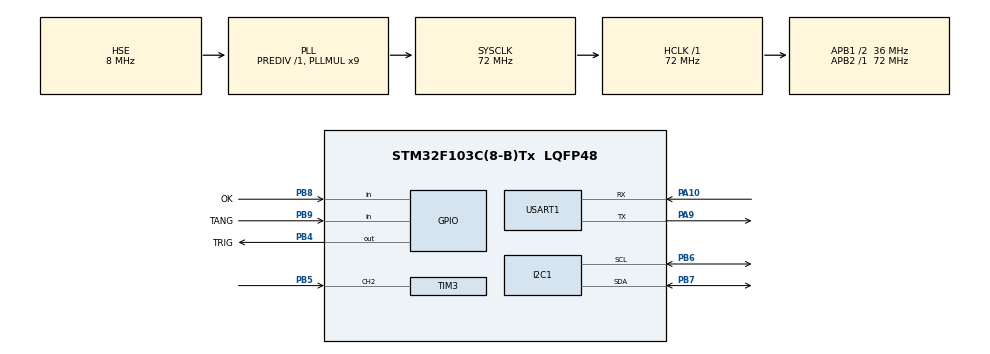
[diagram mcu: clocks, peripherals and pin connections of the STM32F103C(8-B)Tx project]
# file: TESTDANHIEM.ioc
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FREERTOS.Tasks01=defaultTask,0,128,StartDefaultTask,Default,NULL,Dynamic,NULL,NULL;myTask02,-2,128,StartTask02,Default,NULL,Dynamic,NULL,NULL;myTask03,-2,128,StartTask03,Default,NULL,Dynamic,NULL,NULL
I2C1.I2C_Mode=I2C_Fast
Mcu.Family=STM32F1
Mcu.Name=STM32F103C(8-B)Tx
Mcu.Package=LQFP48
NVIC.PriorityGroup=NVIC_PRIORITYGROUP_4
NVIC.TIM1_UP_IRQn=true\:15\:0\:false\:false\:true\:false\:false\:true\:true
NVIC.TIM3_IRQn=true\:5\:0\:false\:false\:true\:true\:true\:true\:true
NVIC.TimeBase=TIM1_UP_IRQn
NVIC.TimeBaseIP=TIM1
NVIC.USART1_IRQn=true\:5\:0\:false\:false\:true\:true\:true\:true\:true
PA10.Mode=Asynchronous
PA10.Signal=USART1_RX
PA13.Mode=Serial_Wire
PA13.Signal=SYS_JTMS-SWDIO
PA14.Mode=Serial_Wire
PA14.Signal=SYS_JTCK-SWCLK
PA9.Mode=Asynchronous
PA9.Signal=USART1_TX
PB4.GPIO_Label=TRIG
PB4.Signal=GPIO_Output
PB5.Signal=S_TIM3_CH2
PB6.Mode=I2C
PB6.Signal=I2C1_SCL
PB7.Mode=I2C
PB7.Signal=I2C1_SDA
PB8.GPIO_Label=OK
PB8.GPIO_PuPd=GPIO_PULLDOWN
PB8.Signal=GPIO_Input
PB9.GPIO_Label=TANG
PB9.GPIO_PuPd=GPIO_PULLDOWN
PB9.Signal=GPIO_Input
PD0-OSC_IN.Mode=HSE-External-Oscillator
PD0-OSC_IN.Signal=RCC_OSC_IN
PD1-OSC_OUT.Mode=HSE-External-Oscillator
PD1-OSC_OUT.Signal=RCC_OSC_OUT
ProjectManager.HeapSize=0x200
ProjectManager.StackSize=0x400
ProjectManager.TargetToolchain=STM32CubeIDE
RCC.AHBFreq_Value=72000000
RCC.APB1CLKDivider=RCC_HCLK_DIV2
RCC.APB1Freq_Value=36000000
RCC.APB1TimFreq_Value=72000000
RCC.APB2Freq_Value=72000000
RCC.APB2TimFreq_Value=72000000
RCC.HCLKFreq_Value=72000000
RCC.PLLMUL=RCC_PLL_MUL9
RCC.PLLSourceVirtual=RCC_PLLSOURCE_HSE
RCC.SYSCLKFreq_VALUE=72000000
RCC.SYSCLKSource=RCC_SYSCLKSOURCE_PLLCLK
RCC.USBFreq_Value=72000000
SH.S_TIM3_CH2.0=TIM3_CH2,Input_Capture2_from_TI2
TIM2.Prescaler=71
TIM3.Channel-Input_Capture2_from_TI2=TIM_CHANNEL_2
TIM3.Prescaler=71
TIM4.Prescaler=71
USART1.VirtualMode=VM_ASYNC
VP_FREERTOS_VS_CMSIS_V1.Mode=CMSIS_V1
VP_SYS_VS_tim1.Mode=TIM1
VP_TIM2_VS_ClockSourceINT.Mode=Internal
VP_TIM3_VS_ClockSourceINT.Mode=Internal
VP_TIM4_VS_ClockSourceINT.Mode=Internal
board=custom

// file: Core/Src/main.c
/* USER CODE BEGIN Header */
/**
  ******************************************************************************
  * @file           : main.c
  * @brief          : Main program body
  ******************************************************************************
  * @attention
  *
  * Copyright (c) 2025 STMicroelectronics.
  * All rights reserved.
  *
  * This software is licensed under terms that can be found in the LICENSE file
  * in the root directory of this software component.
  * If no LICENSE file comes with this software, it is provided AS-IS.
  *
  ******************************************************************************
  */
/* USER CODE END Header */
#include "main.h"
#include "cmsis_os.h"

/* USER CODE BEGIN Includes */
#include <CLCD_I2C.h>
#include "stdio.h"
#include "string.h"
#include <stdlib.h>
#include <DS3231.h>
/* USER CODE END Includes */

I2C_HandleTypeDef hi2c1;

TIM_HandleTypeDef htim2;
TIM_HandleTypeDef htim3;
TIM_HandleTypeDef htim4;

UART_HandleTypeDef huart1;

osThreadId defaultTaskHandle;
osThreadId myTask02Handle;
osThreadId myTask03Handle;
/* USER CODE BEGIN PV */
int pulse_duration =0;
int KCDO = 0;
CLCD_I2C_Name LCD1;
char text1[30];
char text2[30];
char text3[30];
char text4[30];
uint32_t ic_val1 = 0;
uint32_t ic_val2 = 0;
uint32_t difference = 0;
uint8_t is_captured = 0;
uint8_t distance = 0;
uint8_t IndexBuff = 0;
char IndexData[50];
unsigned short Flag = 0;
uint16_t timesend = 200;
DS3231_Name DS3231;
uint8_t mode = 0;
uint16_t demtimegui=0;
/* USER CODE END PV */

void SystemClock_Config(void);
static void MX_GPIO_Init(void);
static void MX_I2C1_Init(void);
static void MX_TIM3_Init(void);
static void MX_USART1_UART_Init(void);
static void MX_TIM2_Init(void);
static void MX_TIM4_Init(void);
void StartDefaultTask(void const * argument);
void StartTask02(void const * argument);
void StartTask03(void const * argument);

/* USER CODE BEGIN 0 */
void Delay_us(uint16_t time)
{
    __HAL_TIM_SET_COUNTER(&htim2, 0);
    while (__HAL_TIM_GET_COUNTER(&htim2) < time) {}
}
void HAL_UART_RxCpltCallback(UART_HandleTypeDef *huart)
{
	if(huart -> Instance == USART1)
	{
		if(IndexData[IndexBuff] != 'K') /*/!,,,, 0x0A = \n*/
		{
			IndexBuff++;
		}
		else
		{
			Flag = 1;
			IndexBuff = 0;
		}
		HAL_UART_Receive_IT(&huart1, (uint8_t*)&IndexData[IndexBuff], 1);
	}
}
void senTRIG()
{
	HAL_GPIO_WritePin(TRIG_GPIO_Port,TRIG_Pin,GPIO_PIN_SET);
	Delay_us(1);
	HAL_GPIO_WritePin(TRIG_GPIO_Port,TRIG_Pin,GPIO_PIN_RESET);
}

void HAL_TIM_IC_CaptureCallback(TIM_HandleTypeDef *htim) {
    if (htim->Instance == htim3.Instance) {
        if (is_captured == 0) {
            ic_val1 = HAL_TIM_ReadCapturedValue(htim, TIM_CHANNEL_2);
            __HAL_TIM_SET_CAPTUREPOLARITY(htim, TIM_CHANNEL_2, TIM_INPUTCHANNELPOLARITY_FALLING);
            is_captured = 1;
        } else if (is_captured == 1) {
            ic_val2 = HAL_TIM_ReadCapturedValue(htim, TIM_CHANNEL_2);
            __HAL_TIM_SET_CAPTUREPOLARITY(htim, TIM_CHANNEL_2, TIM_INPUTCHANNELPOLARITY_RISING);
            is_captured = 0;
            if (ic_val2 > ic_val1) {
                difference = ic_val2 - ic_val1;
            } else {
                difference = (0xFFFF - ic_val1) + ic_val2;
            }
        }
		HAL_TIM_IC_Start_IT(&htim3, TIM_CHANNEL_2);
    }
}

uint8_t Read_HCR05()
{
	senTRIG();
	return distance = (difference * 0.0343) / 2;
}
void TINHTOAN(uint8_t Flag)
{
    if(Flag)
    {
        if(IndexData[0] == 'T')
        {
            timesend = atoi(IndexData + 1);
        }
        Flag = 0;
    }
}
void Xlnutan()
{
	if(HAL_GPIO_ReadPin(OK_GPIO_Port,OK_Pin) == 1)
	{
		mode = 0;
		CLCD_I2C_Clear(&LCD1);
	}
	else if(HAL_GPIO_ReadPin(TANG_GPIO_Port,TANG_Pin) == 1)
	{
		mode = 1;
		CLCD_I2C_Clear(&LCD1);
	}
}
void Xldulieu()
{
	TINHTOAN(Flag);
	sprintf(text1,"Kc do:%d  ",KCDO);
	sprintf(text2,"khoang cach:%d\r\n",KCDO);
	sprintf(text3,"TIME:%d:%d:%d  ",DS3231.Hour,DS3231.Min,DS3231.Sec);
}

void Hienthilcd()
{
	if(mode == 0)
	{
		CLCD_I2C_SetCursor(&LCD1, 0, 0);
		CLCD_I2C_WriteString(&LCD1,"CHE DO 1");
		CLCD_I2C_SetCursor(&LCD1, 0, 1);
		CLCD_I2C_WriteString(&LCD1,text1);
	}
	else if(mode == 1)
	{
		CLCD_I2C_SetCursor(&LCD1, 0, 0);
		CLCD_I2C_WriteString(&LCD1,"CHE DO 2");
		CLCD_I2C_SetCursor(&LCD1, 0, 1);
		CLCD_I2C_WriteString(&LCD1,text3);
	}
}
/* USER CODE END 0 */

int main(void)
{

  /* MCU Configuration--------------------------------------------------------*/

  /* Reset of all peripherals, Initializes the Flash interface and the Systick. */
  HAL_Init();

  /* Configure the system clock */
  SystemClock_Config();

  /* Initialize all configured peripherals */
  MX_GPIO_Init();
  MX_I2C1_Init();
  MX_TIM3_Init();
  MX_USART1_UART_Init();
  MX_TIM2_Init();
  MX_TIM4_Init();
  /* USER CODE BEGIN 2 */
  HAL_UART_Receive_IT(&huart1, (uint8_t*)&IndexData[IndexBuff], 1);
	HAL_TIM_IC_Start_IT(&htim3, TIM_CHANNEL_2);
	HAL_TIM_Base_Start(&htim2);
	CLCD_I2C_Init(&LCD1,&hi2c1,0x4e,16,02,&htim4);
	DS3231_Init(&DS3231, &hi2c1);
	//DS3231_SetTime(&DS3231,14,42,0);
  /* USER CODE END 2 */

  /* Create the thread(s) */
  /* definition and creation of defaultTask */
  osThreadDef(defaultTask, StartDefaultTask, osPriorityNormal, 0, 128);
  defaultTaskHandle = osThreadCreate(osThread(defaultTask), NULL);

  /* definition and creation of myTask02 */
  osThreadDef(myTask02, StartTask02, osPriorityLow, 0, 128);
  myTask02Handle = osThreadCreate(osThread(myTask02), NULL);

  /* definition and creation of myTask03 */
  osThreadDef(myTask03, StartTask03, osPriorityLow, 0, 128);
  myTask03Handle = osThreadCreate(osThread(myTask03), NULL);

  /* Start scheduler */
  osKernelStart();

  /* We should never get here as control is now taken by the scheduler */

  /* Infinite loop */
  while (1)
  {

  }
}

void SystemClock_Config(void)
{
  RCC_OscInitTypeDef RCC_OscInitStruct = {0};
  RCC_ClkInitTypeDef RCC_ClkInitStruct = {0};

  /** Initializes the RCC Oscillators according to the specified parameters
  * in the RCC_OscInitTypeDef structure.
  */
  RCC_OscInitStruct.OscillatorType = RCC_OSCILLATORTYPE_HSE;
  RCC_OscInitStruct.HSEState = RCC_HSE_ON;
  RCC_OscInitStruct.HSEPredivValue = RCC_HSE_PREDIV_DIV1;
  RCC_OscInitStruct.HSIState = RCC_HSI_ON;
  RCC_OscInitStruct.PLL.PLLState = RCC_PLL_ON;
  RCC_OscInitStruct.PLL.PLLSource = RCC_PLLSOURCE_HSE;
  RCC_OscInitStruct.PLL.PLLMUL = RCC_PLL_MUL9;
  if (HAL_RCC_OscConfig(&RCC_OscInitStruct) != HAL_OK)
  {
    Error_Handler();
  }

  /** Initializes the CPU, AHB and APB buses clocks
  */
  RCC_ClkInitStruct.ClockType = RCC_CLOCKTYPE_HCLK|RCC_CLOCKTYPE_SYSCLK
                              |RCC_CLOCKTYPE_PCLK1|RCC_CLOCKTYPE_PCLK2;
  RCC_ClkInitStruct.SYSCLKSource = RCC_SYSCLKSOURCE_PLLCLK;
  RCC_ClkInitStruct.AHBCLKDivider = RCC_SYSCLK_DIV1;
  RCC_ClkInitStruct.APB1CLKDivider = RCC_HCLK_DIV2;
  RCC_ClkInitStruct.APB2CLKDivider = RCC_HCLK_DIV1;

  if (HAL_RCC_ClockConfig(&RCC_ClkInitStruct, FLASH_LATENCY_2) != HAL_OK)
  {
    Error_Handler();
  }
}

static void MX_I2C1_Init(void)
{

  hi2c1.Instance = I2C1;
  hi2c1.Init.ClockSpeed = 400000;
  hi2c1.Init.DutyCycle = I2C_DUTYCYCLE_2;
  hi2c1.Init.OwnAddress1 = 0;
  hi2c1.Init.AddressingMode = I2C_ADDRESSINGMODE_7BIT;
  hi2c1.Init.DualAddressMode = I2C_DUALADDRESS_DISABLE;
  hi2c1.Init.OwnAddress2 = 0;
  hi2c1.Init.GeneralCallMode = I2C_GENERALCALL_DISABLE;
  hi2c1.Init.NoStretchMode = I2C_NOSTRETCH_DISABLE;
  if (HAL_I2C_Init(&hi2c1) != HAL_OK)
  {
    Error_Handler();
  }

}

static void MX_TIM2_Init(void)
{

  TIM_ClockConfigTypeDef sClockSourceConfig = {0};
  TIM_MasterConfigTypeDef sMasterConfig = {0};

  htim2.Instance = TIM2;
  htim2.Init.Prescaler = 71;
  htim2.Init.CounterMode = TIM_COUNTERMODE_UP;
  htim2.Init.Period = 65535;
  htim2.Init.ClockDivision = TIM_CLOCKDIVISION_DIV1;
  htim2.Init.AutoReloadPreload = TIM_AUTORELOAD_PRELOAD_DISABLE;
  if (HAL_TIM_Base_Init(&htim2) != HAL_OK)
  {
    Error_Handler();
  }
  sClockSourceConfig.ClockSource = TIM_CLOCKSOURCE_INTERNAL;
  if (HAL_TIM_ConfigClockSource(&htim2, &sClockSourceConfig) != HAL_OK)
  {
    Error_Handler();
  }
  sMasterConfig.MasterOutputTrigger = TIM_TRGO_RESET;
  sMasterConfig.MasterSlaveMode = TIM_MASTERSLAVEMODE_DISABLE;
  if (HAL_TIMEx_MasterConfigSynchronization(&htim2, &sMasterConfig) != HAL_OK)
  {
    Error_Handler();
  }

}

static void MX_TIM3_Init(void)
{

  TIM_ClockConfigTypeDef sClockSourceConfig = {0};
  TIM_MasterConfigTypeDef sMasterConfig = {0};
  TIM_IC_InitTypeDef sConfigIC = {0};

  htim3.Instance = TIM3;
  htim3.Init.Prescaler = 71;
  htim3.Init.CounterMode = TIM_COUNTERMODE_UP;
  htim3.Init.Period = 65535;
  htim3.Init.ClockDivision = TIM_CLOCKDIVISION_DIV1;
  htim3.Init.AutoReloadPreload = TIM_AUTORELOAD_PRELOAD_DISABLE;
  if (HAL_TIM_Base_Init(&htim3) != HAL_OK)
  {
    Error_Handler();
  }
  sClockSourceConfig.ClockSource = TIM_CLOCKSOURCE_INTERNAL;
  if (HAL_TIM_ConfigClockSource(&htim3, &sClockSourceConfig) != HAL_OK)
  {
    Error_Handler();
  }
  if (HAL_TIM_IC_Init(&htim3) != HAL_OK)
  {
    Error_Handler();
  }
  sMasterConfig.MasterOutputTrigger = TIM_TRGO_RESET;
  sMasterConfig.MasterSlaveMode = TIM_MASTERSLAVEMODE_DISABLE;
  if (HAL_TIMEx_MasterConfigSynchronization(&htim3, &sMasterConfig) != HAL_OK)
  {
    Error_Handler();
  }
  sConfigIC.ICPolarity = TIM_INPUTCHANNELPOLARITY_RISING;
  sConfigIC.ICSelection = TIM_ICSELECTION_DIRECTTI;
  sConfigIC.ICPrescaler = TIM_ICPSC_DIV1;
  sConfigIC.ICFilter = 0;
  if (HAL_TIM_IC_ConfigChannel(&htim3, &sConfigIC, TIM_CHANNEL_2) != HAL_OK)
  {
    Error_Handler();
  }

}

static void MX_TIM4_Init(void)
{

  TIM_ClockConfigTypeDef sClockSourceConfig = {0};
  TIM_MasterConfigTypeDef sMasterConfig = {0};

  htim4.Instance = TIM4;
  htim4.Init.Prescaler = 71;
  htim4.Init.CounterMode = TIM_COUNTERMODE_UP;
  htim4.Init.Period = 65535;
  htim4.Init.ClockDivision = TIM_CLOCKDIVISION_DIV1;
  htim4.Init.AutoReloadPreload = TIM_AUTORELOAD_PRELOAD_DISABLE;
  if (HAL_TIM_Base_Init(&htim4) != HAL_OK)
  {
    Error_Handler();
  }
  sClockSourceConfig.ClockSource = TIM_CLOCKSOURCE_INTERNAL;
  if (HAL_TIM_ConfigClockSource(&htim4, &sClockSourceConfig) != HAL_OK)
  {
    Error_Handler();
  }
  sMasterConfig.MasterOutputTrigger = TIM_TRGO_RESET;
  sMasterConfig.MasterSlaveMode = TIM_MASTERSLAVEMODE_DISABLE;
  if (HAL_TIMEx_MasterConfigSynchronization(&htim4, &sMasterConfig) != HAL_OK)
  {
    Error_Handler();
  }

}

static void MX_USART1_UART_Init(void)
{

  huart1.Instance = USART1;
  huart1.Init.BaudRate = 115200;
  huart1.Init.WordLength = UART_WORDLENGTH_8B;
  huart1.Init.StopBits = UART_STOPBITS_1;
  huart1.Init.Parity = UART_PARITY_NONE;
  huart1.Init.Mode = UART_MODE_TX_RX;
  huart1.Init.HwFlowCtl = UART_HWCONTROL_NONE;
  huart1.Init.OverSampling = UART_OVERSAMPLING_16;
  if (HAL_UART_Init(&huart1) != HAL_OK)
  {
    Error_Handler();
  }

}

static void MX_GPIO_Init(void)
{
  GPIO_InitTypeDef GPIO_InitStruct = {0};

  /* GPIO Ports Clock Enable */
  __HAL_RCC_GPIOD_CLK_ENABLE();
  __HAL_RCC_GPIOA_CLK_ENABLE();
  __HAL_RCC_GPIOB_CLK_ENABLE();

  /*Configure GPIO pin Output Level */
  HAL_GPIO_WritePin(TRIG_GPIO_Port, TRIG_Pin, GPIO_PIN_RESET);

  /*Configure GPIO pin : TRIG_Pin */
  GPIO_InitStruct.Pin = TRIG_Pin;
  GPIO_InitStruct.Mode = GPIO_MODE_OUTPUT_PP;
  GPIO_InitStruct.Pull = GPIO_NOPULL;
  GPIO_InitStruct.Speed = GPIO_SPEED_FREQ_LOW;
  HAL_GPIO_Init(TRIG_GPIO_Port, &GPIO_InitStruct);

  /*Configure GPIO pins : OK_Pin TANG_Pin */
  GPIO_InitStruct.Pin = OK_Pin|TANG_Pin;
  GPIO_InitStruct.Mode = GPIO_MODE_INPUT;
  GPIO_InitStruct.Pull = GPIO_PULLDOWN;
  HAL_GPIO_Init(GPIOB, &GPIO_InitStruct);

}

void StartDefaultTask(void const * argument)
{
  /* USER CODE BEGIN 5 */

  /* Infinite loop */
  for(;;)
  {
	  //HAL_UART_Transmit_IT(&huart1,(uint8_t*)"Task1 Running..",strlen("Task1 Running.."));
	  KCDO = Read_HCR05();
	  DS3231_GetTime(&DS3231);
	  osDelay(100);
	  //osDelay(1000);
  }
  /* USER CODE END 5 */
}

void StartTask02(void const * argument)
{
  /* USER CODE BEGIN StartTask02 */
  /* Infinite loop */
  for(;;)
  {
	  //HAL_UART_Transmit_IT(&huart1,(uint8_t*)"Task2 Running..",strlen("Task2 Running.."));
	  HAL_UART_Transmit_IT(&huart1,(uint8_t*)text2,strlen(text2));
	  osDelay(timesend*1);
  }
  /* USER CODE END StartTask02 */
}

void StartTask03(void const * argument)
{
  /* USER CODE BEGIN StartTask03 */
  /* Infinite loop */
  for(;;)
  {
	  //HAL_UART_Transmit_IT(&huart1,(uint8_t*)"Task3 Running..",strlen("Task3 Running.."));
	  TINHTOAN(Flag);
	  Xldulieu();
	  Xlnutan();
	  Hienthilcd();
	  osDelay(100);
	  //osDelay(1000);
  }
  /* USER CODE END StartTask03 */
}

void HAL_TIM_PeriodElapsedCallback(TIM_HandleTypeDef *htim)
{
  if (htim->Instance == TIM1) {
    HAL_IncTick();
  }
}

void Error_Handler(void)
{
  __disable_irq();
  while (1)
  {
  }
}
